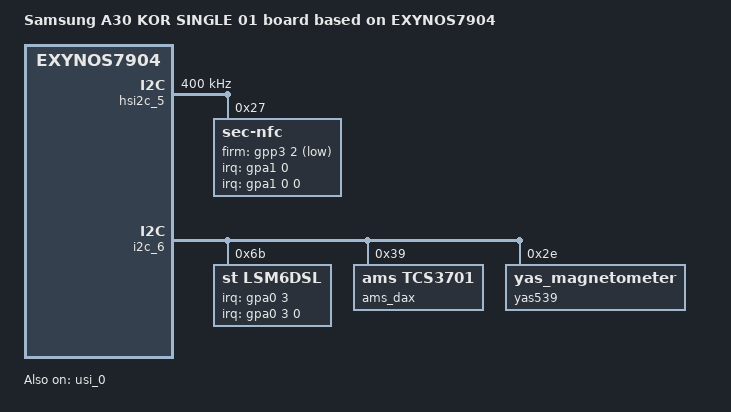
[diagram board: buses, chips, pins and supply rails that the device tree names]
/*
 * SAMSUNG EXYNOS7904 board device tree source

 *
 * Copyright (c) 2018 Samsung Electronics Co., Ltd.
 *		http://www.samsung.com
 *
 * This program is free software; you can redistribute it and/or modify
 * it under the terms of the GNU General Public License version 2 as
 * published by the Free Software Foundation.
*/

/dts-v1/;
/plugin/;

#include "exynos7904-a30_common.dtsi"
#include "exynos7904-a30_kor_single_gpio_01.dtsi"
#include "exynos7904-a30_fingerprint_00.dtsi"
#include "exynos7904-a30_kor-tdmb-00.dtsi"
#include "battery_data_a30_kor_single_common.dtsi"

/ {
	compatible = "samsung,A30 KOR SINGLE 01", "samsung,EXYNOS7904";

	dtbo-hw_rev = <1>;
	dtbo-hw_rev_end = <1>;


	fragment@model {
		target-path = "/";
		__overlay__ {
			#address-cells = <2>;
			#size-cells = <1>;

			model = "Samsung A30 KOR SINGLE 01 board based on EXYNOS7904";
		}; /* end of __overlay__ */
	}; /* end of fragment */
}; /* end of root */

&pinctrl_0 {	/*11CB0000*/
	nfc_clk: nfc-clk {
		samsung,pins = "gpq0-0";
		samsung,pin-function = <2>;
		samsung,pin-pud = <0>;
	};

	nfc_int: nfc-int {
		samsung,pins = "gpa1-0";
		samsung,pin-function = <0>;
		samsung,pin-pud = <1>;
	};
};

&pinctrl_3 {	/*139B0000*/
	nfc_pvdd_en: nfc_pvdd_en {
		samsung,pins = "gpp6-4";
		samsung,pin-function = <1>;
		samsung,pin-pud = <0>;
		samsung,pin-val = <0>;
		samsung,pin-con-pdn = <3>;
		samsung,pin-pud-pdn = <0>;
	};

	nfc_firm: nfc_firm {
		samsung,pins = "gpp3-2";
		samsung,pin-function = <1>;
		samsung,pin-pud = <0>;
		samsung,pin-val = <0>;
		samsung,pin-con-pdn = <3>;
		samsung,pin-pud-pdn = <0>;
	};

	nfc_pd: nfc_pd {
		samsung,pins = "gpp2-2";
		samsung,pin-function = <2>;
		samsung,pin-pud = <0>;
		samsung,pin-drv = <0>;
		samsung,pin-con-pdn = <3>;
		samsung,pin-pud-pdn = <0>;
	};

	nfc_clk_req: nfc_clk_req {
		samsung,pins = "gpp2-3";
		samsung,pin-function = <2>;
		samsung,pin-pud = <1>;
		samsung,pin-drv = <0>;
		samsung,pin-con-pdn = <3>;
		samsung,pin-pud-pdn = <0>;
	};

	nfc_det: nfc-det {
		samsung,pins = "gpg2-2";
		samsung,pin-function = <0>;
		samsung,pin-pud = <0>;
	};
};

&usi_0 {
	usi_mode = "hsi2c0_hsi2c1";
	status = "okay";
};

&hsi2c_5{
	status = "okay";
	clock-frequency = <400000>;
	sec-nfc@27{
		compatible = "sec-nfc";
		reg = <0x27>;

		interrupt-parent = <&gpa1>;
		interrupts = <0 0 0>;

		sec-nfc,nfc_pd = <&gpp2 2 0x2>;
		sec-nfc,firm-gpio = <&gpp3 2 1>;
		sec-nfc,irq-gpio = <&gpa1 0 0>;
		sec-nfc,nfc_clkreq = <&gpp2 3 0x2>;
		sec-nfc,pvdd_en = <&gpp6 4 1>;
		sec-nfc,check_nfc =<&gpg2 2 0x0>;
		clkctrl-reg = <0x11C8600C>;

		pinctrl-names = "default";
		pinctrl-0 = <&nfc_pd &nfc_firm &nfc_int &nfc_clk &nfc_pvdd_en &nfc_clk_req &nfc_det>;
	};
};

&i2c_6 {
 	        status = "okay";

 		#address-cells = <1>;
 		#size-cells = <0>;
 		samsung,i2c-sda-delay = <100>;
 		samsung,i2c-max-bus-freq = <400000>;
 		pinctrl-names = "default";
 		pinctrl-0 = <&i2c6_bus>;

 		lsm6dsl@6b {
 			compatible = "st,lsm6dsl";
 			reg = <0x6b>;
 			gpio-controller;
 			#gpio-cells = <2>;
 			pinctrl-names = "default";
 			pinctrl-0 = <&acc_int>;
 			interrupt-parent = <&gpa0>;
 			interrupts = <3 0 0>;
 			st,irq_gpio = <&gpa0 3 0>;
 			st,orientation = <0 1 1 1 0 1 1 1 2>;
 		};
 		
		ams_dax@39 {
			compatible = "ams,tcs3701";
			reg = <0x39>;
			ams,light_position = <51 81 2 59 1 80>;
		};

		yas539@2e {
			compatible = "yas_magnetometer";
			reg = <0x2e>;
			yas,orientation = <0>;
			yas,softiron = <9770 545 65 545 10120 20 65 20 10110>;
			yas,softiron_sign = <2 2 0 2 2 0 0 0 2>;
		};

};

&dwmmc_2 {
    card-detect-invert;
};
